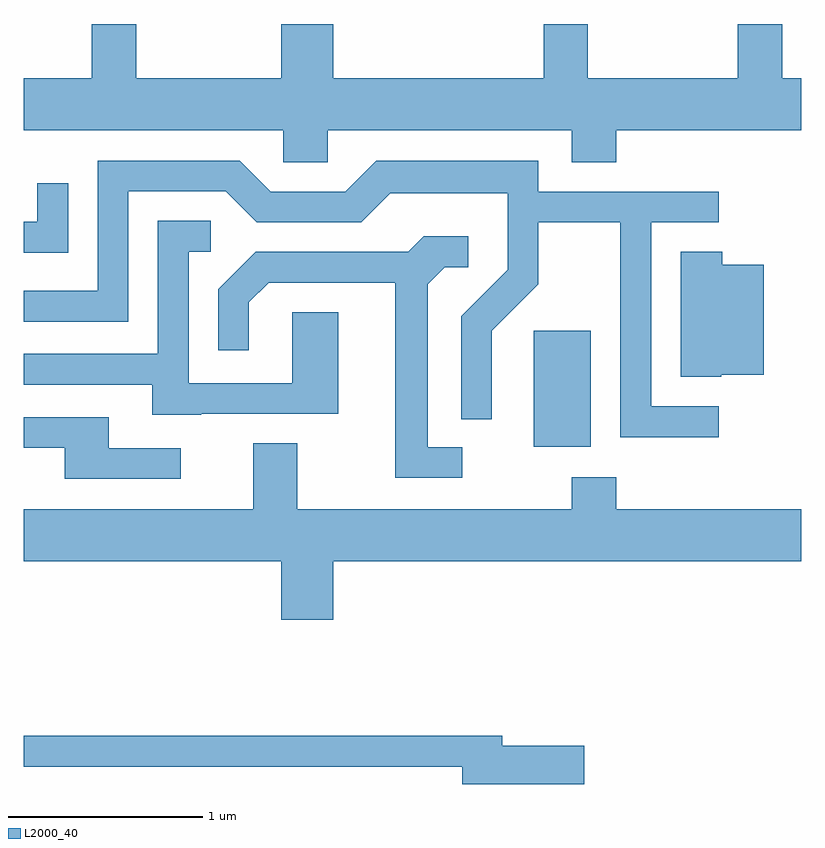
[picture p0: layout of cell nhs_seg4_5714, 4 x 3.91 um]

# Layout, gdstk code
import gdstk
lib = gdstk.Library(unit=1e-6, precision=1e-09)
def R(c, l, rs):  # rectangles x0, y0, x1, y1
    for r in rs: c.add(gdstk.rectangle(r[:2], r[2:], *l))
def P(c, l, *ps):  # polygons
    for p in ps: c.add(gdstk.Polygon(p, *l))
L2000_40 = (2000, 40)

nhs_seg4_5714 = lib.new_cell('nhs_seg4_5714')
R(nhs_seg4_5714, L2000_40, [(356.236,1259.806,356.529,1260.404)])
P(nhs_seg4_5714, L2000_40, [(355.174,1261.436),(356.431,1261.436),(356.431,1261.271),(356.659,1261.271),(356.659,1261.436),(357.611,1261.436),(357.611,1261.704),(357.514,1261.704),(357.514,1261.982),(357.286,1261.982),(357.286,1261.704),(356.514,1261.704),(356.514,1261.982),(356.286,1261.982),(356.286,1261.704),(355.204,1261.704),(355.204,1261.982),(354.936,1261.982),(354.936,1261.704),(354.189,1261.704),(354.189,1261.982),(353.961,1261.982),(353.961,1261.704),(353.611,1261.704),(353.611,1261.436),(354.946,1261.436),(354.946,1261.271),(355.174,1261.271)],
  [(357.188,1260.014),(356.839,1260.014),(356.839,1260.961),(357.188,1260.961),(357.188,1261.119),(356.259,1261.119),(356.259,1261.279),(355.424,1261.279),(355.264,1261.119),(354.882,1261.119),(354.722,1261.279),(353.991,1261.279),(353.991,1260.609),(353.611,1260.609),(353.611,1260.451),(354.149,1260.451),(354.149,1261.121),(354.649,1261.121),(354.809,1260.961),(355.347,1260.961),(355.497,1261.111),(356.101,1261.111),(356.101,1260.717),(355.861,1260.477),(355.861,1259.948),(356.019,1259.948),(356.019,1260.404),(356.259,1260.644),(356.259,1260.961),(356.681,1260.961),(356.681,1259.856),(357.188,1259.856)],
  [(353.839,1261.163),(353.681,1261.163),(353.681,1260.964),(353.611,1260.964),(353.611,1260.806),(353.839,1260.806)],
  [(354.525,1259.976),(355.229,1259.976),(355.229,1260.499),(354.991,1260.499),(354.991,1260.134),(354.459,1260.134),(354.459,1260.811),(354.573,1260.811),(354.573,1260.969),(354.301,1260.969),(354.301,1260.284),(353.611,1260.284),(353.611,1260.126),(354.271,1260.126),(354.271,1259.971),(354.525,1259.971)],
  [(355.868,1259.804),(355.689,1259.804),(355.689,1260.644),(355.777,1260.731),(355.898,1260.731),(355.898,1260.889),(355.669,1260.889),(355.589,1260.809),(354.804,1260.809),(354.611,1260.617),(354.611,1260.303),(354.769,1260.303),(354.769,1260.549),(354.872,1260.651),(355.521,1260.651),(355.521,1259.646),(355.868,1259.646)],
  [(357.2,1260.176),(357.419,1260.176),(357.419,1260.744),(357.204,1260.744),(357.204,1260.809),(356.991,1260.809),(356.991,1260.166),(357.2,1260.166)],
  [(354.418,1259.799),(354.049,1259.799),(354.049,1259.959),(353.611,1259.959),(353.611,1259.801),(353.821,1259.801),(353.821,1259.641),(354.418,1259.641)],
  [(355.204,1259.216),(357.611,1259.216),(357.611,1259.484),(356.659,1259.484),(356.659,1259.649),(356.431,1259.649),(356.431,1259.484),(355.019,1259.484),(355.019,1259.824),(354.791,1259.824),(354.791,1259.484),(353.611,1259.484),(353.611,1259.216),(354.936,1259.216),(354.936,1258.916),(355.204,1258.916)],
  [(356.494,1258.269),(356.074,1258.269),(356.074,1258.319),(353.611,1258.319),(353.611,1258.161),(355.866,1258.161),(355.866,1258.071),(356.494,1258.071)])

lib.write_gds('nhs_seg4_5714.gds')
